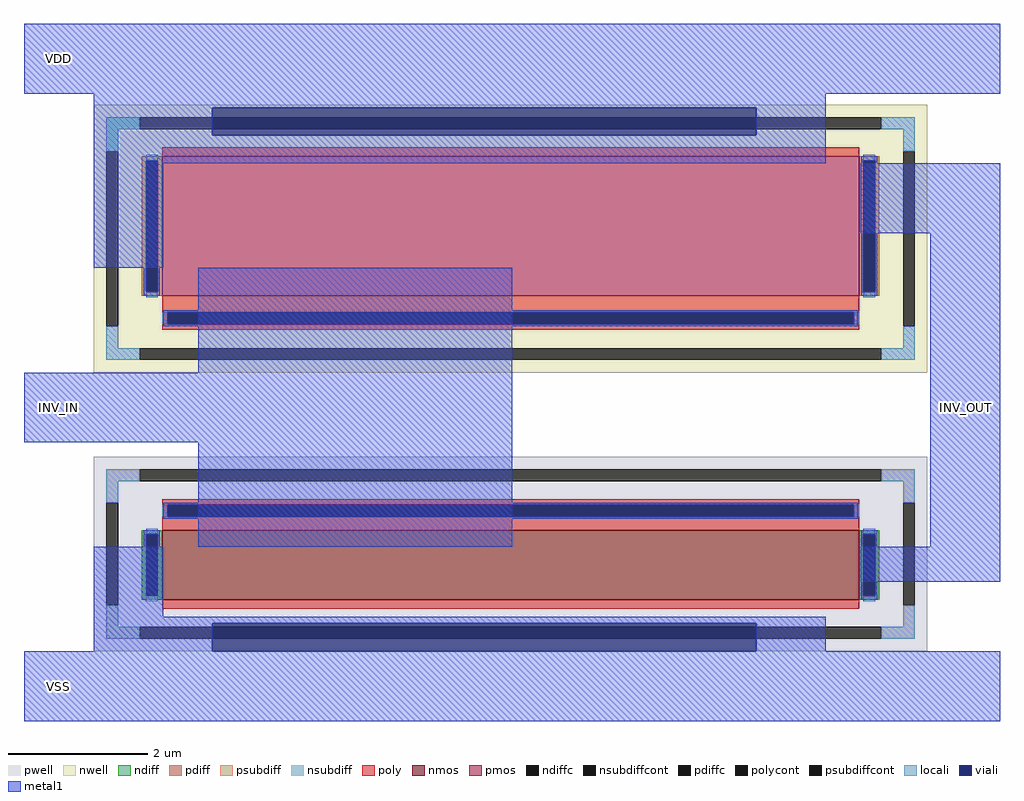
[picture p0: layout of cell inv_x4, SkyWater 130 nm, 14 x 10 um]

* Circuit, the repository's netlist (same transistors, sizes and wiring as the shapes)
** sch_path: /home/ttuser/tt_analog_z2a_2/xschem/inv_x4.sch
.subckt inv_x4 VDD VSS INV_OUT INV_IN
*.PININFO INV_IN:I INV_OUT:O VDD:B VSS:B
XM3 INV_OUT INV_IN VDD VDD sky130_fd_pr__pfet_01v8 L=10 W=2 nf=1 ad='int((nf+1)/2) * W/nf * 0.29' as='int((nf+2)/2) * W/nf * 0.29'
+ pd='2*int((nf+1)/2) * (W/nf + 0.29)' ps='2*int((nf+2)/2) * (W/nf + 0.29)' nrd='0.29 / W' nrs='0.29 / W' sa=0 sb=0 sd=0 mult=1 m=1
XM5 INV_OUT INV_IN VSS VSS sky130_fd_pr__nfet_01v8 L=10 W=1 nf=1 ad='int((nf+1)/2) * W/nf * 0.29' as='int((nf+2)/2) * W/nf * 0.29'
+ pd='2*int((nf+1)/2) * (W/nf + 0.29)' ps='2*int((nf+2)/2) * (W/nf + 0.29)' nrd='0.29 / W' nrs='0.29 / W' sa=0 sb=0 sd=0 mult=1 m=1
.ends
.end

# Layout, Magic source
magic
tech sky130A
magscale 1 2
<< viali >>
rect 1340 480 2900 560
rect 1340 -1000 2900 -920
<< metal1 >>
rect 800 600 3600 800
rect 1000 560 3100 600
rect 1000 480 1340 560
rect 2900 480 3100 560
rect 1000 400 3100 480
rect 1000 100 1200 400
rect 3200 200 3600 400
rect 1300 -200 2200 100
rect 800 -400 2200 -200
rect 1300 -700 2200 -400
rect 3400 -700 3600 200
rect 1000 -900 1200 -700
rect 3200 -800 3600 -700
rect 1000 -920 3100 -900
rect 1000 -1000 1340 -920
rect 2900 -1000 3100 -920
rect 800 -1200 3600 -1000
use sky130_fd_pr__pfet_01v8_P6BKAN  sky130_fd_pr__pfet_01v8_P6BKAN_0
transform 1 0 2196 0 1 184
box -1196 -384 1196 384
use sky130_fd_pr__nfet_01v8_QXQT3M  XM5
transform 1 0 2196 0 1 -721
box -1196 -279 1196 279
<< labels >>
flabel metal1 800 -400 1000 -200 0 FreeSans 256 0 0 0 INV_IN
port 3 nsew
flabel metal1 800 -1200 1000 -1000 0 FreeSans 256 0 0 0 VSS
port 1 nsew
flabel metal1 800 600 1000 800 0 FreeSans 256 0 0 0 VDD
port 0 nsew
flabel metal1 3400 -400 3600 -200 0 FreeSans 256 0 0 0 INV_OUT
port 2 nsew
<< end >>

# cell sky130_fd_pr__pfet_01v8_P6BKAN: kit device sky130_fd_pr__pfet_01v8, w 2.0 l 10.0 m 1 nf 1 diffcov 100 polycov 100 guard 1 glc 1 grc 1 gtc 1 gbc 1 tbcov 100 rlcov 100 topc 0 botc 1 poverlap 0 doverlap 1 lmin 0.15 wmin 0.42 compatible {sky130_fd_pr__pfet_01v8 sky130_fd_pr__pfet_01v8_lvt sky130_fd_pr__pfet_01v8_hvt sky130_fd_pr__pfet_g5v0d10v5} full_metal 1 viasrc 100 viadrn 100 viagate 100 viagb 0 viagr 0 viagl 0 viagt 0

# cell sky130_fd_pr__nfet_01v8_QXQT3M: kit device sky130_fd_pr__nfet_01v8, w 1.0 l 10.0 m 1 nf 1 diffcov 100 polycov 100 guard 1 glc 1 grc 1 gtc 1 gbc 1 tbcov 100 rlcov 100 topc 1 botc 0 poverlap 0 doverlap 1 lmin 0.15 wmin 0.42 compatible {sky130_fd_pr__nfet_01v8 sky130_fd_pr__nfet_01v8_lvt sky130_fd_bs_flash__special_sonosfet_star sky130_fd_pr__nfet_g5v0d10v5 sky130_fd_pr__nfet_05v0_nvt sky130_fd_pr__nfet_03v3_nvt} full_metal 1 viasrc 100 viadrn 100 viagate 100 viagb 0 viagr 0 viagl 0 viagt 0
